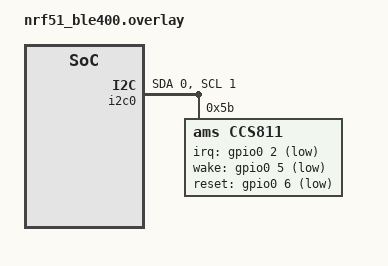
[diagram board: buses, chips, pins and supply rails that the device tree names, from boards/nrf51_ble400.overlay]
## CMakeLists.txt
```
cmake_minimum_required(VERSION 3.13.1)
find_package(Zephyr REQUIRED HINTS $ENV{ZEPHYR_BASE})
project(sensors)

FILE(GLOB app_sources src/*.c)
target_sources(app PRIVATE ${app_sources})
```

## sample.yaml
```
sample:
  description: Interface with sensors CCS811, HTS221, and
  name: Sensor interface
```

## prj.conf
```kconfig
CONFIG_USE_SEGGER_RTT=y
CONFIG_RTT_CONSOLE=y
CONFIG_UART_CONSOLE=n
CONFIG_STDOUT_CONSOLE=y

# Sensors
CONFIG_I2C=y
CONFIG_SENSOR=y

## CCS811 - CO2
CONFIG_CCS811=y
CONFIG_CCS811_TRIGGER_GLOBAL_THREAD=y

## HTS221 - Temperature & Humidity
CONFIG_HTS221=y
CONFIG_HTS221_TRIGGER_NONE=y
CONFIG_CBPRINTF_FP_SUPPORT=y

#LPS22HB - Pressure
CONFIG_LPS22HB=y
```

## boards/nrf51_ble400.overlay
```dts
&i2c0 {
        status = "okay";
        sda-pin = <0>;
        scl-pin = <1>;

	/* Sparkfun Environment Combo uses second I2C address */
        ccs811: ccs811@5b {
                compatible = "ams,ccs811";
                reg = <0x5b>;
                label = "CCS811";
                irq-gpios = <&gpio0 2 GPIO_ACTIVE_LOW>;
                wake-gpios = <&gpio0 5 GPIO_ACTIVE_LOW>;
                reset-gpios = <&gpio0 6 GPIO_ACTIVE_LOW>;
        };
};
```

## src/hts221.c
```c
#include "hts221.h"

void hts221_handler(const struct device *dev)
{
  struct sensor_value temp, hum;
  if (sensor_sample_fetch(dev) < 0) {
    printk("Sensor sample update error\n");
    return;
  }

  if (sensor_channel_get(dev, SENSOR_CHAN_AMBIENT_TEMP, &temp) < 0) {
    printk("Cannot read HTS221 temperature channel\n");
    return;
  }

  if (sensor_channel_get(dev, SENSOR_CHAN_HUMIDITY, &hum) < 0) {
    printk("Cannot read HTS221 humidity channel\n");
    return;
  }

  /* display temperature */
  printk("Temperature:%.1f C\n", sensor_value_to_double(&temp));

  /* display humidity */
  printk("Relative Humidity:%.1f%%\n", sensor_value_to_double(&hum));
}

const struct device *hts221_setup()
{
  const struct device *dev = device_get_binding("HTS221");

  if (dev == NULL) {
    printk("Could not get HTS221 device\n");
  }

  return dev;
}
```

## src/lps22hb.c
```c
#include "lps22hb.h"

void lps22hb_handler(const struct device *dev)
{
  struct sensor_value pressure;

  if (sensor_sample_fetch(dev) < 0) {
    printk("Sensor sample update error\n");
    return;
  }

  if (sensor_channel_get(dev, SENSOR_CHAN_PRESS, &pressure) < 0) {
    printk("Cannot read LPS22HB pressure channel\n");
    return;
  }

  /* display pressure */
  printk("Pressure:%.1f kPa\n", sensor_value_to_double(&pressure));
}

const struct device *lps22hb_setup()
{
  const struct device *dev = device_get_binding(DT_LABEL(DT_INST(0, st_lps22hb_press)));

  if (dev == NULL) {
    printk("Could not get LPS22HB device\n");
  }

  return dev;
}
```
